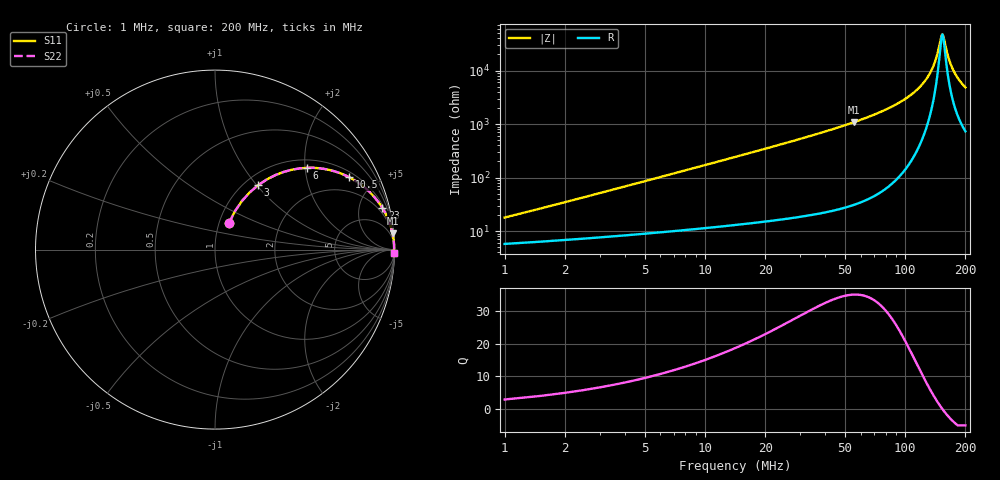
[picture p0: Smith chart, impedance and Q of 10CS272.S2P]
! Coilcraft 1008CS-272 Chip Inductor
! 02 July 2002
# MHZ S MA R 50
!Freq  MagS11  AngS11  MagS21  AngS21  MagS12  AngS12  MagS22  AngS22
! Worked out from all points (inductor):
!   399 points, 1 MHz to 200 MHz, reference 50 ohm
!   read as one part in series: L = 2.7 uH near 1.5 MHz
!   highest Q = 35.1 at 55.5 MHz (marker M1), where L = 3.11 uH
!   self-resonance near 153.5 MHz
!   S11 on the Smith chart (normalised r, x): 1 MHz: 1.12, +0.34; 3 MHz: 1.15, +1.02; 6 MHz: 1.19, +2.04; 10.5 MHz: 1.23, +3.58; 23 MHz: 1.32, +7.98; 200 MHz: 16, -96
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1  0.1673 62.2  0.9337 -9.1  0.9337 -9.1  0.1673 62.2
2  0.3088 61.0  0.8923 -17.6  0.8923 -17.6  0.3088 61.0
3  0.4324 56.2  0.8399 -25.3  0.8399 -25.3  0.4324 56.2
4.5  0.579 48.4  0.753 -35.1  0.753 -35.1  0.579 48.4
6  0.6844 41.7  0.6685 -43.0  0.6685 -43.0  0.6844 41.7
10.5  0.8504 28.2  0.4742 -58.1  0.4742 -58.1  0.8504 28.2
15.5  0.9208 20.2  0.3462 -66.9  0.3462 -66.9  0.9208 20.2
23  0.961 13.9  0.2406 -73.8  0.2406 -73.8  0.961 13.9
34.5  0.9821 9.2  0.1592 -79.0  0.1592 -79.0  0.9821 9.2
55.5  0.9932 5.3  0.09168 -83.1  0.09168 -83.1  0.9932 5.3
67.5  0.9955 4.0  0.07013 -84.3  0.07013 -84.3  0.9955 4.0
100.5  0.9978 1.9  0.03349 -85.3  0.03349 -85.3  0.9978 1.9
120  0.9981 1.1  0.01917 -83.8  0.01917 -83.8  0.9981 1.1
134  0.9981 0.6  0.01066 -79.5  0.01066 -79.5  0.9981 0.6
142.5  0.998 0.3  0.006086 -71.1  0.006086 -71.1  0.998 0.3
151.5  0.9979 0.1  0.002341 -27.5  0.002341 -27.5  0.9979 0.1
153.5  0.9979 0.0  0.00211 -2.2  0.00211 -2.2  0.9979 0.0
155.5  0.9979 -0.1  0.002327 22.9  0.002327 22.9  0.9979 -0.1
161.5  0.9977 -0.2  0.004417 59.2  0.004417 59.2  0.9977 -0.2
167  0.9976 -0.4  0.006784 69.3  0.006784 69.3  0.9976 -0.4
180.5  0.9973 -0.7  0.01261 77.2  0.01261 77.2  0.9973 -0.7
200  0.9967 -1.2  0.02055 80.1  0.02055 80.1  0.9967 -1.2
